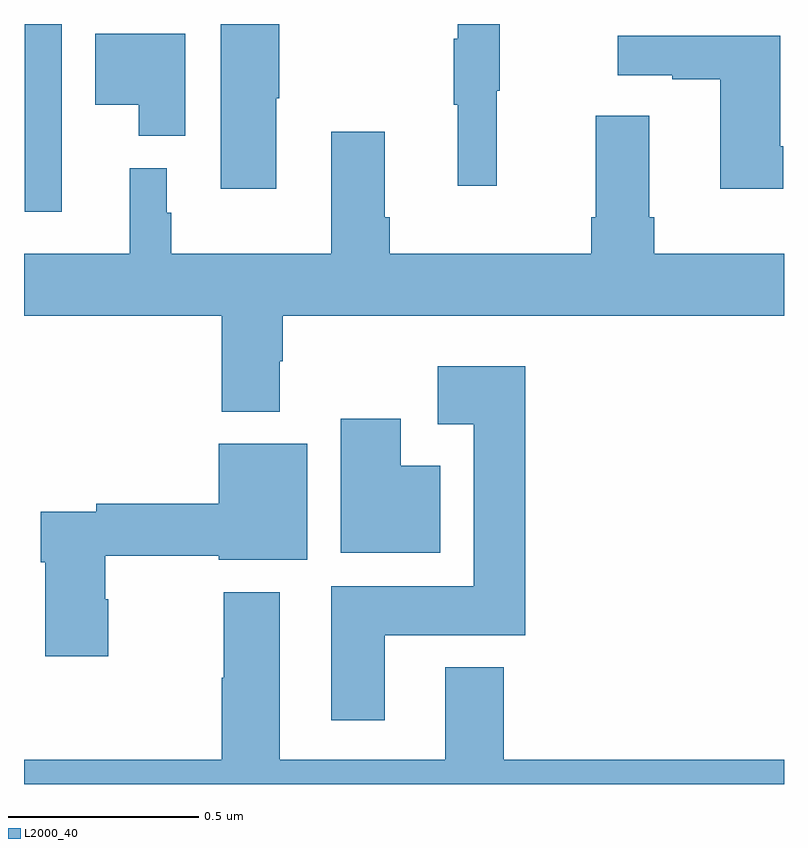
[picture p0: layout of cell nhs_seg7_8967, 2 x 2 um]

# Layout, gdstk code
import gdstk
lib = gdstk.Library(unit=1e-6, precision=1e-09)
def R(c, l, rs):  # rectangles x0, y0, x1, y1
    for r in rs: c.add(gdstk.rectangle(r[:2], r[2:], *l))
def P(c, l, *ps):  # polygons
    for p in ps: c.add(gdstk.Polygon(p, *l))
L2000_40 = (2000, 40)

nhs_seg7_8967 = lib.new_cell('nhs_seg7_8967')
R(nhs_seg7_8967, L2000_40, [(231.002,1051.506,231.099,1052)])
P(nhs_seg7_8967, L2000_40, [(232.244,1051.824),(232.252,1051.824),(232.252,1052),(232.142,1052),(232.142,1051.961),(232.131,1051.961),(232.131,1051.787),(232.142,1051.787),(232.142,1051.575),(232.244,1051.575)],
  [(231.664,1051.804),(231.672,1051.804),(231.672,1052),(231.518,1052),(231.518,1051.566),(231.664,1051.566)],
  [(231.424,1051.975),(231.188,1051.975),(231.188,1051.787),(231.302,1051.787),(231.302,1051.706),(231.424,1051.706)],
  [(232.998,1051.678),(232.99,1051.678),(232.99,1051.969),(232.563,1051.969),(232.563,1051.865),(232.706,1051.865),(232.706,1051.855),(232.832,1051.855),(232.832,1051.566),(232.998,1051.566)],
  [(231.673,1051.112),(231.681,1051.112),(231.681,1051.232),(233,1051.232),(233,1051.396),(232.658,1051.396),(232.658,1051.492),(232.645,1051.492),(232.645,1051.759),(232.505,1051.759),(232.505,1051.492),(232.493,1051.492),(232.493,1051.396),(231.962,1051.396),(231.962,1051.492),(231.949,1051.492),(231.949,1051.717),(231.809,1051.717),(231.809,1051.396),(231.388,1051.396),(231.388,1051.503),(231.376,1051.503),(231.376,1051.621),(231.278,1051.621),(231.278,1051.396),(231,1051.396),(231,1051.232),(231.521,1051.232),(231.521,1050.98),(231.673,1050.98)],
  [(231.949,1050.392),(232.319,1050.392),(232.319,1051.099),(232.089,1051.099),(232.089,1050.947),(232.184,1050.947),(232.184,1050.52),(231.809,1050.52),(231.809,1050.168),(231.949,1050.168)],
  [(232.096,1050.838),(231.991,1050.838),(231.991,1050.961),(231.833,1050.961),(231.833,1050.608),(232.096,1050.608)],
  [(231.222,1050.486),(231.214,1050.486),(231.214,1050.601),(231.512,1050.601),(231.512,1050.59),(231.745,1050.59),(231.745,1050.895),(231.512,1050.895),(231.512,1050.737),(231.19,1050.737),(231.19,1050.717),(231.044,1050.717),(231.044,1050.584),(231.056,1050.584),(231.056,1050.336),(231.222,1050.336)],
  [(231.526,1050.505),(231.526,1050.279),(231.521,1050.279),(231.521,1050.064),(231,1050.064),(231,1050),(233,1050),(233,1050.064),(232.262,1050.064),(232.262,1050.307),(232.109,1050.307),(232.109,1050.064),(231.673,1050.064),(231.673,1050.505)])

lib.write_gds('nhs_seg7_8967.gds')
